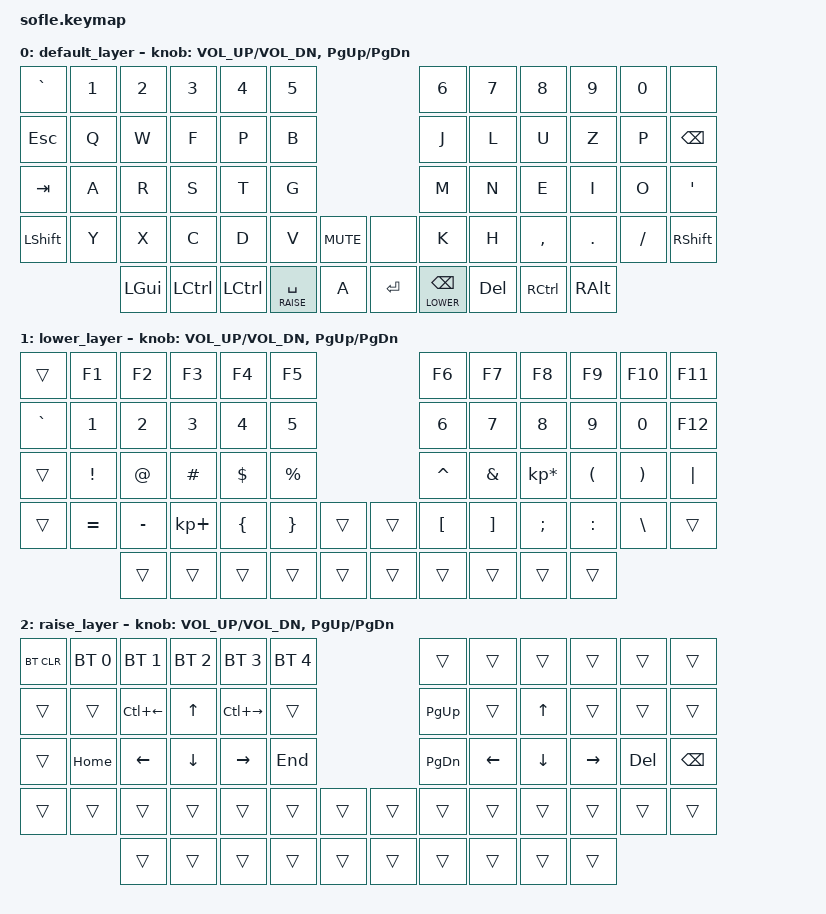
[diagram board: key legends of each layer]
/*
 * Copyright (c) 2020 The ZMK Contributors
 *
 * SPDX-License-Identifier: MIT
 */

#include <behaviors.dtsi>
#include <dt-bindings/zmk/keys.h>
#include <dt-bindings/zmk/bt.h>

#define DEFAULT 0
#define LOWER 1
#define RAISE 2  

/ {
    keymap {
        compatible = "zmk,keymap";

        default_layer {
// ------------------------------------------------------------------------------------------------------------
// |  `    |  1  |  2  |  3   |  4   |  5   |                   |  6   |  7    |  8    |  9   |   0   |       |
// |  ESC  |  Q  |  W  |  F   |  P   |  B   |                   |  J   |  L    |  U    |  Y   |   P   | BKSPC |
// |  TAB  |  A  |  R  |  S   |  T   |  G   |                   |  M   |  N    |  E    |  I   |   O   |   '   |
// | SHIFT |  Z  |  X  |  C   |  D   |  V   |  MUTE  |  |       |  K   |  H    |  ,    |  .   |   -   | SHIFT |
//               | GUI | CTRL |RAISE |SPACE |  TAB   |  | ENTER |BKSPC | LOWER | CTRL  | ALT  |
            bindings = <
&kp GRAVE &kp N1 &kp N2   &kp N3    &kp N4    &kp N5                                &kp N6         &kp N7   &kp N8    &kp N9   &kp N0   &none
&kp ESC   &kp Q  &kp W    &kp F     &kp P     &kp B                                 &kp J          &kp L    &kp U     &kp Z    &kp P    &kp BSPC
&kp TAB   &kp A  &kp R    &kp S     &kp T     &kp G                                 &kp M          &kp N    &kp E     &kp I    &kp O    &kp SQT
&kp LSHFT &kp Y  &kp X    &kp C     &kp D     &kp V            &kp C_MUTE &none     &kp K          &kp H    &kp COMMA &kp DOT  &kp FSLH &kp RSHFT
                 &kp LGUI &kp LCTRL &kp LCTRL &lt RAISE SPACE  &kp A      &kp ENTER &lt LOWER BSPC &kp DEL  &kp RCTRL &kp RALT

            >;

            sensor-bindings = <&inc_dec_kp C_VOL_UP C_VOL_DN &inc_dec_kp PG_UP PG_DN>;
        };

        lower_layer {
// TODO: Some binds are waiting for shifted keycode support.
// ------------------------------------------------------------------------------------------------------------
// |       |  F1 |  F2 |  F3  |  F4  |  F5  |                   |  F6  |  F7   |  F8   |  F9  |  F10  |  F11  |
// | `     |   1 |   2 |   3  |   4  |   5  |                   |   6  |   7   |   8   |   9  |    0  |  F12  |
// |       |  !  |  @  |  #   |  $   |  %   |                   |  ^   |  &    |  *    |  (   |   )   |   |   |
// |       |  =  |  -  |  +   |  {   |  }   |        |  |       |  [   |  ]    |  ;    |  :   |   \   |       |
//               |     |      |      |      |        |  |       |      |       |       |      |
            bindings = <
&trans    &kp F1    &kp F2    &kp F3      &kp F4    &kp F5                    &kp F6    &kp F7   &kp F8          &kp F9    &kp F10   &kp F11
&kp GRAVE &kp N1    &kp N2    &kp N3      &kp N4    &kp N5                    &kp N6    &kp N7   &kp N8          &kp N9    &kp N0    &kp F12
&trans    &kp EXCL  &kp AT    &kp HASH    &kp DLLR  &kp PRCNT                 &kp CARET &kp AMPS &kp KP_MULTIPLY &kp LPAR  &kp RPAR  &kp PIPE
&trans    &kp EQUAL &kp MINUS &kp KP_PLUS &kp LBRC  &kp RBRC  &trans   &trans &kp LBKT  &kp RBKT &kp SEMI        &kp COLON &kp BSLH  &trans
                    &trans    &trans      &trans    &trans    &trans   &trans &trans    &trans   &trans          &trans
            >;

            sensor-bindings = <&inc_dec_kp C_VOL_UP C_VOL_DN &inc_dec_kp PG_UP PG_DN>;
        };

        raise_layer {
// ------------------------------------------------------------------------------------------------------------
// |BTCLR| BT1  | BT2  |  BT3  |  BT4  |  BT5 |                |      |      |       |      |       |       |
// |     |      |<-CRTL|   ^   |CRTL ->|      |                | PGUP |      |   ^   |      |       |       |
// |     |      | <-   |   v   |    -> |      |                | PGDN |   <- |   v   |  ->  |  DEL  | BKSPC |
// |     |      |      |       |       |      |      |  |      |      |      |       |      |       |       |
//              |      |       |       |      |      |  |      |      |      |       |      |
            bindings = <
&bt BT_CLR &bt BT_SEL 0 &bt BT_SEL 1 &bt BT_SEL 2 &bt BT_SEL 3  &bt BT_SEL 4                     &trans    &trans    &trans    &trans    &trans    &trans
&trans     &trans       &kp LC(LEFT) &kp UP       &kp LC(RIGHT) &trans                           &kp PG_UP &trans    &kp UP    &trans    &trans    &trans
&trans     &kp HOME     &kp LEFT     &kp DOWN     &kp RIGHT     &kp END                          &kp PG_DN &kp LEFT  &kp DOWN  &kp RIGHT &kp DEL   &kp BSPC
&trans     &trans       &trans       &trans       &trans        &trans       &trans    &trans    &trans    &trans    &trans    &trans    &trans    &trans
                        &trans       &trans       &trans        &trans       &trans    &trans    &trans    &trans    &trans    &trans
            >;

            sensor-bindings = <&inc_dec_kp C_VOL_UP C_VOL_DN &inc_dec_kp PG_UP PG_DN>;
        };
    };
};

//&trans     &trans       &kp LC(LEFT) &kp UP       &kp LC(RIGHT) &trans                           &kp PG_UP &trans    &kp UP    &trans    &kp trans &trans
